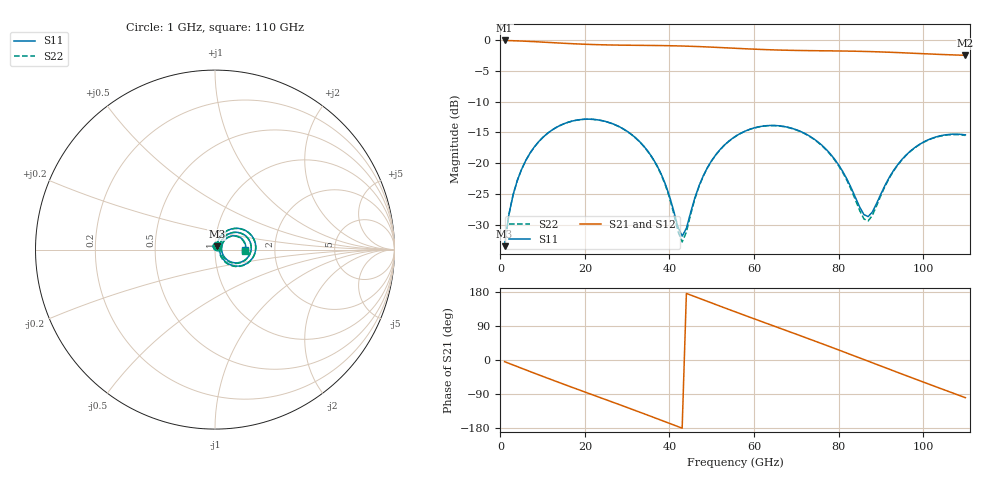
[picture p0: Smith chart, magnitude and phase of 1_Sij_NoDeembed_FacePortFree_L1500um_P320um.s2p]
! Touchstone file exported from HFSS 2024.2.0
!  File:  C:/Users/vaintrug/Documents/Ansoft_Workspace/Comparaison_Calculs_HFSS/1_VarPort.aedt
!  Generated:  03:22:17 PM Jan 21, 2025
!  Design:  1_NoDeembed_FacePortFree
!  Project:  1_VarPort
!  Setup:  Setup1
!  Solution:  Sweep
! Variables:
!  $Lenght = 1500um
!  $PortSize = 320um
!  Gap = 30um
!  Th = 2um
!  X_centralStrip = 20um
!  X_masse = 200um
!  Y_Sub = 1.5mm
!  Z_Box = 400um
!  Z_Sub = 200um
# GHz S MA R 50.000000
! Terminal data exported
! Port[1] = 1
! Port[2] = 2
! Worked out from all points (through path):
!   110 points, 1 GHz to 110 GHz, reference 50 ohm
!   highest |S21| = -0.10 dB at 1 GHz (marker M1); lowest = -2.5 dB at 110 GHz (marker M2)
!   group delay of S21, straight-line fit = 11.6 ps
!   lowest |S11| = -33.4 dB at 1 GHz (marker M3), VSWR 1.04, Z = 50.9 + j1.93 ohm
!   |S11| at or under -10 dB: start of sweep to end of sweep
!   |S22| runs from -33.4 to -12.9 dB; largest |S21 - S12| = 2.2e-15
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1  0.02127 63.1  0.9891 -4.4  0.9891 -4.4  0.02127 63.1
! Gamma 5.75802925337287 49.7025319290187 5.81349182596638 49.6475819819138
! Port Impedance 50 0 50 0
2  0.03813 69.9  0.9865 -8.8  0.9865 -8.8  0.03813 69.8
3  0.05534 70.2  0.984 -13.1  0.984 -13.1  0.05534 70.1
7  0.1205 58.6  0.9711 -30.3  0.9711 -30.3  0.1205 58.4
14  0.2016 31.5  0.9425 -59.9  0.9425 -59.9  0.2014 31.1
20  0.2275 8.4  0.9216 -84.5  0.9216 -84.5  0.2272 7.8
29  0.1906 -24.7  0.9058 -121.2  0.9058 -121.2  0.19 -25.7
34  0.1367 -41.1  0.9022 -142.0  0.9022 -142.0  0.1359 -42.5
38  0.08234 -49.5  0.8989 -158.8  0.8989 -158.8  0.08125 -51.7
43  0.02565 1.0  0.8914 -180.0  0.8914 -180.0  0.02302 0.9
47  0.06571 53.7  0.8819 163.0  0.8819 163.0  0.06498 55.1
49  0.09246 52.8  0.8761 154.6  0.8761 154.6  0.09198 53.5
56  0.1685 33.5  0.8533 125.3  0.8533 125.3  0.1681 33.2
65  0.2022 2.9  0.8289 88.4  0.8289 88.4  0.2016 2.1
74  0.1589 -26.2  0.8173 51.6  0.8173 51.6  0.1578 -27.7
80  0.09719 -39.6  0.8129 26.5  0.8129 26.5  0.09561 -41.9
86  0.03833 -10.6  0.8059 1.2  0.8059 1.2  0.03535 -12.2
88  0.0403 21.9  0.8024 -7.4  0.8024 -7.4  0.03784 23.2
92  0.07679 44.3  0.7938 -24.3  0.7938 -24.3  0.07575 45.0
96  0.1168 39.9  0.7835 -41.2  0.7835 -41.2  0.116 39.7
101  0.1538 26.7  0.7699 -62.2  0.7699 -62.2  0.153 25.8
110  0.1697 -1.1  0.7497 -99.5  0.7497 -99.5  0.1681 -3.1
